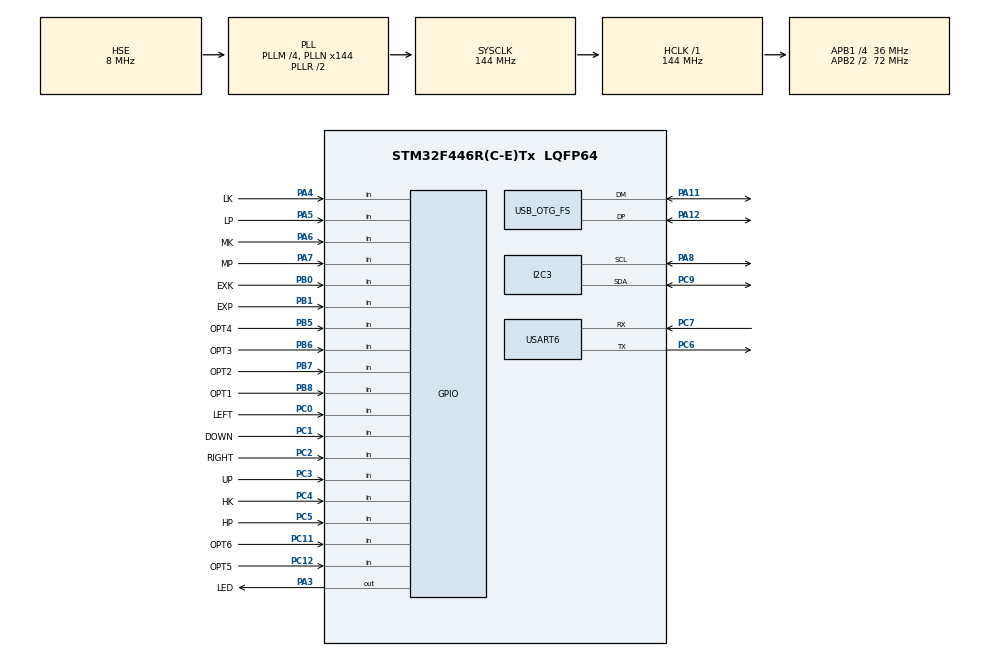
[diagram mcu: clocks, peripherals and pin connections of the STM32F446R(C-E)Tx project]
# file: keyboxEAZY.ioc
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Mcu.Family=STM32F4
Mcu.Name=STM32F446R(C-E)Tx
Mcu.Package=LQFP64
NVIC.OTG_FS_IRQn=true\:0\:0\:false\:false\:true\:false\:true\:true
NVIC.PriorityGroup=NVIC_PRIORITYGROUP_4
PA11.Mode=Device_Only
PA11.Signal=USB_OTG_FS_DM
PA12.Mode=Device_Only
PA12.Signal=USB_OTG_FS_DP
PA13.Signal=SYS_JTMS-SWDIO
PA3.GPIO_Label=LED
PA3.Signal=GPIO_Output
PA4.GPIO_Label=LK
PA4.GPIO_Mode=GPIO_MODE_INPUT
PA4.GPIO_PuPd=GPIO_PULLUP
PA4.Signal=GPIO_Input
PA5.GPIO_Label=LP
PA5.GPIO_Mode=GPIO_MODE_INPUT
PA5.GPIO_PuPd=GPIO_PULLUP
PA5.Signal=GPIO_Input
PA6.GPIO_Label=MK
PA6.GPIO_Mode=GPIO_MODE_INPUT
PA6.GPIO_PuPd=GPIO_PULLUP
PA6.Signal=GPIO_Input
PA7.GPIO_Label=MP
PA7.GPIO_Mode=GPIO_MODE_INPUT
PA7.GPIO_PuPd=GPIO_PULLUP
PA7.Signal=GPIO_Input
PA8.GPIO_Pu=GPIO_PULLUP
PA8.Mode=I2C
PA8.Signal=I2C3_SCL
PB0.GPIO_Label=EXK
PB0.GPIO_PuPd=GPIO_PULLUP
PB0.Signal=GPIO_Input
PB1.GPIO_Label=EXP
PB1.GPIO_PuPd=GPIO_PULLUP
PB1.Signal=GPIO_Input
PB13.Signal=USB_OTG_HS_VBUS
PB5.GPIO_Label=OPT4
PB5.GPIO_PuPd=GPIO_PULLUP
PB5.Signal=GPIO_Input
PB6.GPIO_Label=OPT3
PB6.GPIO_PuPd=GPIO_PULLUP
PB6.Signal=GPIO_Input
PB7.GPIO_Label=OPT2
PB7.GPIO_PuPd=GPIO_PULLUP
PB7.Signal=GPIO_Input
PB8.GPIO_Label=OPT1
PB8.GPIO_PuPd=GPIO_PULLUP
PB8.Signal=GPIO_Input
PC0.GPIO_Label=LEFT
PC0.GPIO_Mode=GPIO_MODE_INPUT
PC0.GPIO_PuPd=GPIO_PULLUP
PC0.Signal=GPIO_Input
PC1.GPIO_Label=DOWN
PC1.GPIO_Mode=GPIO_MODE_INPUT
PC1.GPIO_PuPd=GPIO_PULLUP
PC1.Signal=GPIO_Input
PC11.GPIO_Label=OPT6
PC11.GPIO_PuPd=GPIO_PULLUP
PC11.Signal=GPIO_Input
PC12.GPIO_Label=OPT5
PC12.GPIO_PuPd=GPIO_PULLUP
PC12.Signal=GPIO_Input
PC2.GPIO_Label=RIGHT
PC2.GPIO_Mode=GPIO_MODE_INPUT
PC2.GPIO_PuPd=GPIO_PULLUP
PC2.Signal=GPIO_Input
PC3.GPIO_Label=UP
PC3.GPIO_Mode=GPIO_MODE_INPUT
PC3.GPIO_PuPd=GPIO_PULLUP
PC3.Signal=GPIO_Input
PC4.GPIO_Label=HK
PC4.GPIO_PuPd=GPIO_PULLUP
PC4.Signal=GPIO_Input
PC5.GPIO_Label=HP
PC5.GPIO_PuPd=GPIO_PULLUP
PC5.Signal=GPIO_Input
PC6.Mode=Asynchronous
PC6.Signal=USART6_TX
PC7.Mode=Asynchronous
PC7.Signal=USART6_RX
PC9.GPIO_Pu=GPIO_PULLUP
PC9.Mode=I2C
PC9.Signal=I2C3_SDA
PH0-OSC_IN.Mode=HSE-External-Oscillator
PH0-OSC_IN.Signal=RCC_OSC_IN
PH1-OSC_OUT.Mode=HSE-External-Oscillator
PH1-OSC_OUT.Signal=RCC_OSC_OUT
ProjectManager.HeapSize=0x200
ProjectManager.StackSize=0x400
ProjectManager.TargetToolchain=STM32CubeIDE
RCC.AHBFreq_Value=144000000
RCC.APB1CLKDivider=RCC_HCLK_DIV4
RCC.APB1Freq_Value=36000000
RCC.APB1TimFreq_Value=72000000
RCC.APB2CLKDivider=RCC_HCLK_DIV2
RCC.APB2Freq_Value=72000000
RCC.APB2TimFreq_Value=144000000
RCC.CortexFreq_Value=144000000
RCC.HCLKFreq_Value=144000000
RCC.HSE_VALUE=8000000
RCC.PLLM=4
RCC.PLLN=144
RCC.PLLQ=6
RCC.PLLSourceVirtual=RCC_PLLSOURCE_HSE
RCC.SYSCLKFreq_VALUE=144000000
RCC.SYSCLKSource=RCC_SYSCLKSOURCE_PLLRCLK
RCC.USBFreq_Value=48000000
RCC.VCOOutputFreq_Value=288000000
USART6.VirtualMode=VM_ASYNC
USB_DEVICE.CLASS_NAME_FS=HID
USB_DEVICE.VirtualMode-HID_FS=Hid
USB_DEVICE.VirtualModeFS=Hid_FS
USB_OTG_FS.VirtualMode=Device_Only
VP_CRC_VS_CRC.Mode=CRC_Activate
VP_USB_DEVICE_VS_USB_DEVICE_HID_FS.Mode=HID_FS
board=custom

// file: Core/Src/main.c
/* USER CODE BEGIN Header */
/**
  ******************************************************************************
  * @file           : main.c
  * @brief          : Main program body
  ******************************************************************************
  * @attention
  *
  * Copyright (c) 2024 STMicroelectronics.
  * All rights reserved.
  *
  * This software is licensed under terms that can be found in the LICENSE file
  * in the root directory of this software component.
  * If no LICENSE file comes with this software, it is provided AS-IS.
  *
  ******************************************************************************
  */
/* USER CODE END Header */
#include "main.h"
#include "usb_device.h"

/* USER CODE BEGIN Includes */
#include "usbd_hid.h"
#include "ssd1306.h"
/* USER CODE END Includes */

/* USER CODE BEGIN PD */
#define REPORT_SIZ 2*AXIS_NUM+2*BUTTONS_ENABLED+DPAD_ENABLED
/* USER CODE END PD */

CRC_HandleTypeDef hcrc;

I2C_HandleTypeDef hi2c3;

UART_HandleTypeDef huart6;

/* USER CODE BEGIN PV */

//volatile uint8_t data_ready = 0;

#if (AXIS_NUM > 0)
uint32_t filter_buf[AXIS_NUM][FILTER_WINDOW_SIZE];
#endif
uint8_t report_data[REPORT_SIZ];

uint8_t buttons_state[2];
uint8_t dpad_state;
extern const SSD1306_Font_t Font_7x10;
/* USER CODE END PV */

void SystemClock_Config(void);
static void MX_GPIO_Init(void);
static void MX_I2C3_Init(void);
static void MX_USART6_UART_Init(void);
static void MX_CRC_Init(void);
/* USER CODE BEGIN PFP */
uint16_t FilterWindow (uint32_t * p_buf, uint16_t new_val);

/* USER CODE END PFP */

int main(void)
{

  /* MCU Configuration--------------------------------------------------------*/

  /* Reset of all peripherals, Initializes the Flash interface and the Systick. */
  HAL_Init();

  /* Configure the system clock */
  SystemClock_Config();

  /* Initialize all configured peripherals */
  MX_GPIO_Init();
  MX_I2C3_Init();
  MX_USART6_UART_Init();
  MX_USB_DEVICE_Init();
  MX_CRC_Init();
  /* USER CODE BEGIN 2 */
  ssd1306_Init();
  HAL_GPIO_WritePin(LED_GPIO_Port, LED_Pin, 1);
  //ssd1306_Fill(White);
  ssd1306_SetCursor(0, 0);
  ssd1306_WriteString("Hello World!", Font_7x10, White);
  ssd1306_UpdateScreen();
  HAL_Delay(600);
  ssd1306_Fill(Black);
  ssd1306_UpdateScreen();

  /* USER CODE END 2 */

  /* Infinite loop */
  while (1)
  {

    /* USER CODE BEGIN 3 */

	  			GPIO_Poll((uint16_t*)&buttons_state);
	  			DPAD_Poll(&dpad_state);
#if (AXIS_NUM > 0)
	  			for (uint8_t i=0; i<AXIS_NUM; i++)
	  				report_data[i] = FilterWindow(filter_buf[i], ADC_data[i]);
#endif

#if (BUTTONS_ENABLED == 1)
				report_data[2 * AXIS_NUM] = buttons_state[0];
				report_data[2 * AXIS_NUM + 1] = buttons_state[1];
#endif
#if (DPAD_ENABLED == 1)
				report_data[2 * AXIS_NUM + 2 * BUTTONS_ENABLED] = dpad_state;

#endif
	  			uint8_t errrr = USBD_HID_SendReport(&hUsbDeviceFS, (uint8_t*) &report_data, (2 * AXIS_NUM + 2 * BUTTONS_ENABLED + 1)*sizeof(uint8_t));
	  			if (errrr == 3) {
	  				HAL_GPIO_WritePin(LED_GPIO_Port, LED_Pin, 0); //LED licht op wanneer de USB lib een error returnt (als de polling niet kan bijhouden)
	  				HAL_Delay(500);
				} else {
					HAL_GPIO_WritePin(LED_GPIO_Port, LED_Pin, 1);
				}

	  			DrawAll(buttons_state, &dpad_state);

  }
  /* USER CODE END 3 */
}

void SystemClock_Config(void)
{
  RCC_OscInitTypeDef RCC_OscInitStruct = {0};
  RCC_ClkInitTypeDef RCC_ClkInitStruct = {0};

  /** Configure the main internal regulator output voltage
  */
  __HAL_RCC_PWR_CLK_ENABLE();
  __HAL_PWR_VOLTAGESCALING_CONFIG(PWR_REGULATOR_VOLTAGE_SCALE1);

  /** Initializes the RCC Oscillators according to the specified parameters
  * in the RCC_OscInitTypeDef structure.
  */
  RCC_OscInitStruct.OscillatorType = RCC_OSCILLATORTYPE_HSE;
  RCC_OscInitStruct.HSEState = RCC_HSE_ON;
  RCC_OscInitStruct.PLL.PLLState = RCC_PLL_ON;
  RCC_OscInitStruct.PLL.PLLSource = RCC_PLLSOURCE_HSE;
  RCC_OscInitStruct.PLL.PLLM = 4;
  RCC_OscInitStruct.PLL.PLLN = 144;
  RCC_OscInitStruct.PLL.PLLP = RCC_PLLP_DIV2;
  RCC_OscInitStruct.PLL.PLLQ = 6;
  RCC_OscInitStruct.PLL.PLLR = 2;
  if (HAL_RCC_OscConfig(&RCC_OscInitStruct) != HAL_OK)
  {
    Error_Handler();
  }

  /** Initializes the CPU, AHB and APB buses clocks
  */
  RCC_ClkInitStruct.ClockType = RCC_CLOCKTYPE_HCLK|RCC_CLOCKTYPE_SYSCLK
                              |RCC_CLOCKTYPE_PCLK1|RCC_CLOCKTYPE_PCLK2;
  RCC_ClkInitStruct.SYSCLKSource = RCC_SYSCLKSOURCE_PLLRCLK;
  RCC_ClkInitStruct.AHBCLKDivider = RCC_SYSCLK_DIV1;
  RCC_ClkInitStruct.APB1CLKDivider = RCC_HCLK_DIV4;
  RCC_ClkInitStruct.APB2CLKDivider = RCC_HCLK_DIV2;

  if (HAL_RCC_ClockConfig(&RCC_ClkInitStruct, FLASH_LATENCY_4) != HAL_OK)
  {
    Error_Handler();
  }
}

static void MX_CRC_Init(void)
{

  hcrc.Instance = CRC;
  if (HAL_CRC_Init(&hcrc) != HAL_OK)
  {
    Error_Handler();
  }

}

static void MX_I2C3_Init(void)
{

  hi2c3.Instance = I2C3;
  hi2c3.Init.ClockSpeed = 800000;
  hi2c3.Init.DutyCycle = I2C_DUTYCYCLE_2;
  hi2c3.Init.OwnAddress1 = 0;
  hi2c3.Init.AddressingMode = I2C_ADDRESSINGMODE_7BIT;
  hi2c3.Init.DualAddressMode = I2C_DUALADDRESS_DISABLE;
  hi2c3.Init.OwnAddress2 = 0;
  hi2c3.Init.GeneralCallMode = I2C_GENERALCALL_DISABLE;
  hi2c3.Init.NoStretchMode = I2C_NOSTRETCH_DISABLE;
  if (HAL_I2C_Init(&hi2c3) != HAL_OK)
  {
    Error_Handler();
  }

}

static void MX_USART6_UART_Init(void)
{

  huart6.Instance = USART6;
  huart6.Init.BaudRate = 115200;
  huart6.Init.WordLength = UART_WORDLENGTH_8B;
  huart6.Init.StopBits = UART_STOPBITS_1;
  huart6.Init.Parity = UART_PARITY_NONE;
  huart6.Init.Mode = UART_MODE_TX_RX;
  huart6.Init.HwFlowCtl = UART_HWCONTROL_NONE;
  huart6.Init.OverSampling = UART_OVERSAMPLING_16;
  if (HAL_UART_Init(&huart6) != HAL_OK)
  {
    Error_Handler();
  }

}

static void MX_GPIO_Init(void)
{
  GPIO_InitTypeDef GPIO_InitStruct = {0};

  /* GPIO Ports Clock Enable */
  __HAL_RCC_GPIOH_CLK_ENABLE();
  __HAL_RCC_GPIOC_CLK_ENABLE();
  __HAL_RCC_GPIOA_CLK_ENABLE();
  __HAL_RCC_GPIOB_CLK_ENABLE();

  /*Configure GPIO pin Output Level */
  HAL_GPIO_WritePin(LED_GPIO_Port, LED_Pin, GPIO_PIN_RESET);

  /*Configure GPIO pins : LEFT_Pin DOWN_Pin RIGHT_Pin UP_Pin
                           HK_Pin HP_Pin OPT6_Pin OPT5_Pin */
  GPIO_InitStruct.Pin = LEFT_Pin|DOWN_Pin|RIGHT_Pin|UP_Pin
                          |HK_Pin|HP_Pin|OPT6_Pin|OPT5_Pin;
  GPIO_InitStruct.Mode = GPIO_MODE_INPUT;
  GPIO_InitStruct.Pull = GPIO_PULLUP;
  HAL_GPIO_Init(GPIOC, &GPIO_InitStruct);

  /*Configure GPIO pin : LED_Pin */
  GPIO_InitStruct.Pin = LED_Pin;
  GPIO_InitStruct.Mode = GPIO_MODE_OUTPUT_PP;
  GPIO_InitStruct.Pull = GPIO_NOPULL;
  GPIO_InitStruct.Speed = GPIO_SPEED_FREQ_LOW;
  HAL_GPIO_Init(LED_GPIO_Port, &GPIO_InitStruct);

  /*Configure GPIO pins : LK_Pin LP_Pin MK_Pin MP_Pin */
  GPIO_InitStruct.Pin = LK_Pin|LP_Pin|MK_Pin|MP_Pin;
  GPIO_InitStruct.Mode = GPIO_MODE_INPUT;
  GPIO_InitStruct.Pull = GPIO_PULLUP;
  HAL_GPIO_Init(GPIOA, &GPIO_InitStruct);

  /*Configure GPIO pins : EXK_Pin EXP_Pin OPT4_Pin OPT3_Pin
                           OPT2_Pin OPT1_Pin */
  GPIO_InitStruct.Pin = EXK_Pin|EXP_Pin|OPT4_Pin|OPT3_Pin
                          |OPT2_Pin|OPT1_Pin;
  GPIO_InitStruct.Mode = GPIO_MODE_INPUT;
  GPIO_InitStruct.Pull = GPIO_PULLUP;
  HAL_GPIO_Init(GPIOB, &GPIO_InitStruct);

  /*Configure GPIO pin : PB13 */
  GPIO_InitStruct.Pin = GPIO_PIN_13;
  GPIO_InitStruct.Mode = GPIO_MODE_INPUT;
  GPIO_InitStruct.Pull = GPIO_NOPULL;
  HAL_GPIO_Init(GPIOB, &GPIO_InitStruct);

}

/* USER CODE BEGIN 4 */
void GPIO_Poll (uint16_t * p_button_state)
{
	*p_button_state = 0;
	*p_button_state |= HAL_GPIO_ReadPin(LP_GPIO_Port, LP_Pin);
	*p_button_state |= HAL_GPIO_ReadPin(MP_GPIO_Port, MP_Pin) << 1;
	*p_button_state |= HAL_GPIO_ReadPin(HP_GPIO_Port, HP_Pin) << 2;
	*p_button_state |= HAL_GPIO_ReadPin(EXP_GPIO_Port, EXP_Pin) << 3;
	*p_button_state |= HAL_GPIO_ReadPin(LK_GPIO_Port, LK_Pin) << 4;
	*p_button_state |= HAL_GPIO_ReadPin(MK_GPIO_Port, MK_Pin) << 5;
	*p_button_state |= HAL_GPIO_ReadPin(HK_GPIO_Port, HK_Pin) << 6;
	*p_button_state |= HAL_GPIO_ReadPin(EXK_GPIO_Port, EXK_Pin) << 7;
	*p_button_state |= HAL_GPIO_ReadPin(OPT1_GPIO_Port, OPT1_Pin) << 8;
	*p_button_state |= HAL_GPIO_ReadPin(OPT2_GPIO_Port, OPT2_Pin) << 9;
	*p_button_state |= HAL_GPIO_ReadPin(OPT3_GPIO_Port, OPT3_Pin) << 10;
	*p_button_state |= HAL_GPIO_ReadPin(OPT4_GPIO_Port, OPT4_Pin) << 11;
	*p_button_state |= HAL_GPIO_ReadPin(OPT5_GPIO_Port, OPT5_Pin) << 12;
	*p_button_state |= HAL_GPIO_ReadPin(OPT6_GPIO_Port, OPT6_Pin) << 13;
	*p_button_state ^= 0x3FFF;
	return;
}
void DPAD_Poll (uint8_t * p_dpad_state)
{
	*p_dpad_state 	= DPAD_NONE;
	uint8_t dpad_LR	= DPAD_NONE;
	uint8_t dpad_UD	= DPAD_NONE;
	uint8_t up 		= !(HAL_GPIO_ReadPin(UP_GPIO_Port, UP_Pin));
	uint8_t right 	= !(HAL_GPIO_ReadPin(RIGHT_GPIO_Port, RIGHT_Pin));
	uint8_t down 	= !(HAL_GPIO_ReadPin(DOWN_GPIO_Port, DOWN_Pin));
	uint8_t left 	= !(HAL_GPIO_ReadPin(LEFT_GPIO_Port, LEFT_Pin));

	//SOCD Cleaning: UP + DOWN moet UP worden, LEFT + RIGHT moet neutral worden

	if (down && (!up)) {
		dpad_UD	= DPAD_DOWN;
	}

	if (up) {
		dpad_UD	= DPAD_UP;
	}

	if (left && right) {
		dpad_LR = DPAD_NONE;
	} else if (left && (!right)) {
		dpad_LR = DPAD_LEFT;
	} else if ((!left) && right) {
		dpad_LR = DPAD_RIGHT;
	}

	if (dpad_LR != DPAD_NONE) {
		if (dpad_UD == DPAD_NONE) {
			*p_dpad_state = dpad_LR;	//cardinal LR
		} else {						//Non-cardinal
			if(dpad_UD == DPAD_UP) {
				if (dpad_LR == DPAD_RIGHT) {
					*p_dpad_state = DPAD_UPRIGHT;
				} else { //must be left
					*p_dpad_state = DPAD_UPLEFT;
				}
			} else { //must be down
				if (dpad_LR == DPAD_RIGHT) {
					*p_dpad_state = DPAD_DOWNRIGHT;
				} else { //must be left
					*p_dpad_state = DPAD_DOWNLEFT;
				}
			}
		}
	} else if (dpad_UD != DPAD_NONE) {
		*p_dpad_state = dpad_UD;		//cardinal UD
	}

	return;
}
void DrawAll(uint8_t* button_state,uint8_t* dpad_state) {
	ssd1306_Fill(Black);
	Draw_Buttons(button_state);
	Draw_DPAD(dpad_state);
	ssd1306_UpdateScreen();
	return;
}

void Draw_Buttons(uint8_t* button_state) {
	((*button_state & (0x1 << 0)) ? ssd1306_FillCircle : ssd1306_DrawCircle)(66, 16, 7, White); //LP
	((*button_state & (0x1 << 1)) ? ssd1306_FillCircle : ssd1306_DrawCircle)(82, 10, 7, White); //MP
	((*button_state & (0x1 << 2)) ? ssd1306_FillCircle : ssd1306_DrawCircle)(98, 10, 7, White); //HP
	((*button_state & (0x1 << 3)) ? ssd1306_FillCircle : ssd1306_DrawCircle)(114, 10, 7, White); //EXP
	((*button_state & (0x1 << 4)) ? ssd1306_FillCircle : ssd1306_DrawCircle)(63, 33, 7, White); //LK
	((*button_state & (0x1 << 5)) ? ssd1306_FillCircle : ssd1306_DrawCircle)(79, 28, 7, White); //MK
	((*button_state & (0x1 << 6)) ? ssd1306_FillCircle : ssd1306_DrawCircle)(95, 28, 7, White); //HK
	((*button_state & (0x1 << 7)) ? ssd1306_FillCircle : ssd1306_DrawCircle)(111, 28, 7, White); //EXK

//knoppen worden als volle of holle cirkels afgdrukt op basis van hun status (ingedrukt of niet)
	return;
}
void Draw_DPAD(uint8_t* dpad_state) {
	ssd1306_DrawCircle(56, 52, 9, White); //knoppen worden als volle of holle cirkels afgdrukt op basis van hun status (ingedrukt of niet)
	ssd1306_DrawCircle(17, 16, 7, White); //(ook de SOCD cleaning wordt getoond doordat we de dpad_state gebruiken)
	ssd1306_DrawCircle(33, 16, 7, White);
	ssd1306_DrawCircle(48, 22, 7, White);
	switch (*dpad_state) {
		case DPAD_UP:
			ssd1306_FillCircle(56, 52, 9, White);
			break;
		case DPAD_UPRIGHT:
			ssd1306_FillCircle(56, 52, 9, White);
			ssd1306_FillCircle(48, 22, 7, White);
			break;
		case DPAD_RIGHT:
			ssd1306_FillCircle(48, 22, 7, White);
			break;
		case DPAD_DOWNRIGHT:
			ssd1306_FillCircle(33, 16, 7, White);
			ssd1306_FillCircle(48, 22, 7, White);
			break;
		case DPAD_DOWN:
			ssd1306_FillCircle(33, 16, 7, White);
			break;
		case DPAD_DOWNLEFT:
			ssd1306_FillCircle(17, 16, 7, White);
			ssd1306_FillCircle(33, 16, 7, White);
			break;
		case DPAD_LEFT:
			ssd1306_FillCircle(17, 16, 7, White);
			break;
		case DPAD_UPLEFT:
			ssd1306_FillCircle(56, 52, 9, White);
			ssd1306_FillCircle(17, 16, 7, White);
			break;
		default:
			break;
	}
	return;
}

uint16_t FilterWindow (uint32_t * p_buf, uint16_t new_val)
{
	uint16_t ret;

	p_buf[FILTER_WINDOW_SIZE-1] = new_val;

	for (uint8_t i=2; i<=FILTER_WINDOW_SIZE; i++)
	{
		p_buf[FILTER_WINDOW_SIZE-1] += p_buf[FILTER_WINDOW_SIZE - i];
	}

	p_buf[FILTER_WINDOW_SIZE-1] /= FILTER_WINDOW_SIZE;

	ret = p_buf[FILTER_WINDOW_SIZE-1];

	for (int i=0; i<FILTER_WINDOW_SIZE; i++)
	{
		p_buf[i-1] = p_buf[i];
	}

		return ret;
}
/* USER CODE END 4 */

void Error_Handler(void)
{
  __disable_irq();
  while (1)
  {
  }
}
